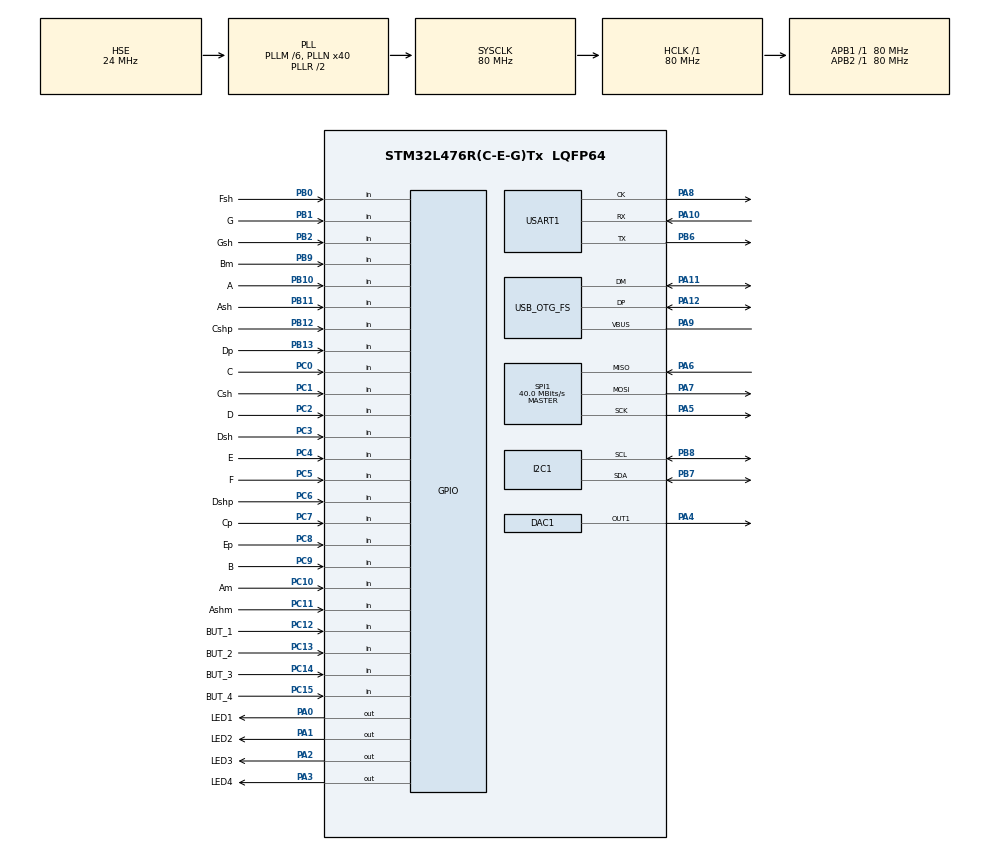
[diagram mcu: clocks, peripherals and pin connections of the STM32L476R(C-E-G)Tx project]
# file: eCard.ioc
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DAC1.DAC_Trigger-DAC_OUT1=DAC_TRIGGER_T5_TRGO
Dma.DAC_CH1.0.Direction=DMA_MEMORY_TO_PERIPH
Dma.DAC_CH1.0.Instance=DMA1_Channel3
Dma.DAC_CH1.0.MemDataAlignment=DMA_MDATAALIGN_WORD
Dma.DAC_CH1.0.MemInc=DMA_MINC_ENABLE
Dma.DAC_CH1.0.Mode=DMA_NORMAL
Dma.DAC_CH1.0.PeriphDataAlignment=DMA_PDATAALIGN_HALFWORD
Dma.DAC_CH1.0.PeriphInc=DMA_PINC_DISABLE
Dma.DAC_CH1.0.Priority=DMA_PRIORITY_HIGH
Dma.Request0=DAC_CH1
I2C1.Timing=0x10909CEC
Mcu.Family=STM32L4
Mcu.Name=STM32L476R(C-E-G)Tx
Mcu.Package=LQFP64
NVIC.DMA1_Channel3_IRQn=true\:0\:0\:false\:false\:true\:false\:true\:true
NVIC.OTG_FS_IRQn=true\:0\:0\:false\:false\:true\:false\:true\:true
NVIC.PriorityGroup=NVIC_PRIORITYGROUP_4
PA0.GPIO_Label=LED1
PA0.Signal=GPIO_Output
PA1.GPIO_Label=LED2
PA1.Signal=GPIO_Output
PA10.Mode=Synchronous
PA10.Signal=USART1_RX
PA11.Mode=Device_Only
PA11.Signal=USB_OTG_FS_DM
PA12.Mode=Device_Only
PA12.Signal=USB_OTG_FS_DP
PA13\ (JTMS-SWDIO).Mode=Serial_Wire
PA13\ (JTMS-SWDIO).Signal=SYS_JTMS-SWDIO
PA14\ (JTCK-SWCLK).Mode=Serial_Wire
PA14\ (JTCK-SWCLK).Signal=SYS_JTCK-SWCLK
PA2.GPIO_Label=LED3
PA2.Signal=GPIO_Output
PA3.GPIO_Label=LED4
PA3.Signal=GPIO_Output
PA4.Signal=COMP_DAC11_group
PA5.Mode=Full_Duplex_Master
PA5.Signal=SPI1_SCK
PA6.Mode=Full_Duplex_Master
PA6.Signal=SPI1_MISO
PA7.Mode=Full_Duplex_Master
PA7.Signal=SPI1_MOSI
PA8.Mode=Synchronous
PA8.Signal=USART1_CK
PA9.Mode=Activate_VBUS
PA9.Signal=USB_OTG_FS_VBUS
PB0.GPIO_Label=Fsh
PB0.GPIO_PuPd=GPIO_PULLUP
PB0.Signal=GPIO_Input
PB1.GPIO_Label=G
PB1.GPIO_PuPd=GPIO_PULLUP
PB1.Signal=GPIO_Input
PB10.GPIO_Label=A
PB10.GPIO_PuPd=GPIO_PULLUP
PB10.Signal=GPIO_Input
PB11.GPIO_Label=Ash
PB11.GPIO_PuPd=GPIO_PULLUP
PB11.Signal=GPIO_Input
PB12.GPIO_Label=Cshp
PB12.GPIO_PuPd=GPIO_PULLUP
PB12.Signal=GPIO_Input
PB13.GPIO_Label=Dp
PB13.GPIO_PuPd=GPIO_PULLUP
PB13.Signal=GPIO_Input
PB2.GPIO_Label=Gsh
PB2.GPIO_PuPd=GPIO_PULLUP
PB2.Signal=GPIO_Input
PB6.Mode=Synchronous
PB6.Signal=USART1_TX
PB7.Mode=I2C
PB7.Signal=I2C1_SDA
PB8.Mode=I2C
PB8.Signal=I2C1_SCL
PB9.GPIO_Label=Bm
PB9.GPIO_PuPd=GPIO_PULLUP
PB9.Signal=GPIO_Input
PC0.GPIO_Label=C
PC0.GPIO_PuPd=GPIO_PULLUP
PC0.Signal=GPIO_Input
PC1.GPIO_Label=Csh
PC1.GPIO_PuPd=GPIO_PULLUP
PC1.Signal=GPIO_Input
PC10.GPIO_Label=Am
PC10.GPIO_PuPd=GPIO_PULLUP
PC10.Signal=GPIO_Input
PC11.GPIO_Label=Ashm
PC11.GPIO_PuPd=GPIO_PULLUP
PC11.Signal=GPIO_Input
PC12.GPIO_Label=BUT_1
PC12.GPIO_PuPd=GPIO_PULLUP
PC12.Signal=GPIO_Input
PC13.GPIO_Label=BUT_2
PC13.GPIO_PuPd=GPIO_PULLUP
PC13.Signal=GPIO_Input
PC14-OSC32_IN\ (PC14).GPIO_Label=BUT_3
PC14-OSC32_IN\ (PC14).GPIO_PuPd=GPIO_PULLUP
PC14-OSC32_IN\ (PC14).Signal=GPIO_Input
PC15-OSC32_OUT\ (PC15).GPIO_Label=BUT_4
PC15-OSC32_OUT\ (PC15).GPIO_PuPd=GPIO_PULLUP
PC15-OSC32_OUT\ (PC15).Signal=GPIO_Input
PC2.GPIO_Label=D
PC2.GPIO_PuPd=GPIO_PULLUP
PC2.Signal=GPIO_Input
PC3.GPIO_Label=Dsh
PC3.GPIO_PuPd=GPIO_PULLUP
PC3.Signal=GPIO_Input
PC4.GPIO_Label=E
PC4.GPIO_PuPd=GPIO_PULLUP
PC4.Signal=GPIO_Input
PC5.GPIO_Label=F
PC5.GPIO_PuPd=GPIO_PULLUP
PC5.Signal=GPIO_Input
PC6.GPIO_Label=Dshp
PC6.GPIO_PuPd=GPIO_PULLUP
PC6.Signal=GPIO_Input
PC7.GPIO_Label=Cp
PC7.GPIO_PuPd=GPIO_PULLUP
PC7.Signal=GPIO_Input
PC8.GPIO_Label=Ep
PC8.GPIO_PuPd=GPIO_PULLUP
PC8.Signal=GPIO_Input
PC9.GPIO_Label=B
PC9.GPIO_PuPd=GPIO_PULLUP
PC9.Signal=GPIO_Input
PH0-OSC_IN\ (PH0).Mode=HSE-External-Oscillator
PH0-OSC_IN\ (PH0).Signal=RCC_OSC_IN
PH1-OSC_OUT\ (PH1).Mode=HSE-External-Oscillator
PH1-OSC_OUT\ (PH1).Signal=RCC_OSC_OUT
ProjectManager.HeapSize=0x4000
ProjectManager.StackSize=0x2000
ProjectManager.TargetToolchain=STM32CubeIDE
RCC.ADCFreq_Value=96000000
RCC.AHBFreq_Value=80000000
RCC.APB1Freq_Value=80000000
RCC.APB1TimFreq_Value=80000000
RCC.APB2Freq_Value=80000000
RCC.APB2TimFreq_Value=80000000
RCC.CortexFreq_Value=80000000
RCC.HCLKFreq_Value=80000000
RCC.HSE_VALUE=24000000
RCC.HSI_VALUE=16000000
RCC.LSE_VALUE=32768
RCC.MSIClockRange=RCC_MSIRANGE_8
RCC.MSI_VALUE=16000000
RCC.PLLM=6
RCC.PLLN=40
RCC.PLLSAI1N=48
RCC.PLLSAI1Q=RCC_PLLQ_DIV4
RCC.PLLSourceVirtual=RCC_PLLSOURCE_HSE
RCC.SYSCLKFreq_VALUE=80000000
RCC.SYSCLKSource=RCC_SYSCLKSOURCE_PLLCLK
RCC.USBFreq_Value=48000000
RCC.VCOOutputFreq_Value=160000000
SH.COMP_DAC11_group.0=DAC1_OUT1,DAC_OUT1
SPI1.BaudRatePrescaler=SPI_BAUDRATEPRESCALER_2
SPI1.CalculateBaudRate=40.0 MBits/s
SPI1.Direction=SPI_DIRECTION_2LINES
SPI1.Mode=SPI_MODE_MASTER
SPI1.VirtualType=VM_MASTER
STMicroelectronics.X-CUBE-ALGOBUILD.1.3.0.LibraryCcDSPOoLibraryJjDSPOoLibrary=true
TIM5.Period=1666
TIM5.Prescaler=0
TIM5.TIM_MasterOutputTrigger=TIM_TRGO_UPDATE
USART1.VirtualMode-Synchronous=VM_SYNC
USB_DEVICE.CLASS_NAME_FS=AUDIO
USB_DEVICE.MANUFACTURER_STRING=DarkFox
USB_DEVICE.PRODUCT_STRING_AUDIO_FS=Stylophone Card
USB_DEVICE.USBD_AUDIO_FREQ=48000
USB_DEVICE.USBD_MAX_NUM_INTERFACES=3
USB_DEVICE.VID=1159
USB_DEVICE.VirtualMode=Audio
USB_DEVICE.VirtualModeFS=Audio_FS
USB_OTG_FS.VirtualMode=Device_Only
VP_STMicroelectronics.X-CUBE-ALGOBUILD_VS_DSPOoLibraryJjLibrary_1.3.0_1.3.0.Mode=DSPOoLibraryJjLibrary
VP_TIM5_VS_ClockSourceINT.Mode=Internal
VP_USB_DEVICE_VS_USB_DEVICE_AUDIO_FS.Mode=AUDIO_FS
board=custom

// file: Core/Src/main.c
/* USER CODE BEGIN Header */
/**
  ******************************************************************************
  * @file       main.c
  * @brief      This is the top layer file.
  *
  * @author     darkyfoxy [*GitHub*](https://github.com/darkyfoxy)
  * @version    0.01
  * @date       05.05.2023
  *
  ******************************************************************************
  * @copyright  <h3>Copyright (c) 2023 Pavlov V.</h3>
  *
  * Permission is hereby granted, free of charge, to any person obtaining a copy
  * of this software and associated documentation files (the "Software"), to deal
  * in the Software without restriction, including without limitation the rights
  * to use, copy, modify, merge, publish, distribute, sublicense, and/or sell
  * copies of the Software, and to permit persons to whom the Software is
  * furnished to do so, subject to the following conditions:
  *
  * The above copyright notice and this permission notice shall be included in all
  * copies or substantial portions of the Software.
  *
  * THE SOFTWARE IS PROVIDED "AS IS", WITHOUT WARRANTY OF ANY KIND, EXPRESS OR
  * IMPLIED, INCLUDING BUT NOT LIMITED TO THE WARRANTIES OF MERCHANTABILITY,
  * FITNESS FOR A PARTICULAR PURPOSE AND NONINFRINGEMENT. IN NO EVENT SHALL THE
  * AUTHORS OR COPYRIGHT HOLDERS BE LIABLE FOR ANY CLAIM, DAMAGES OR OTHER
  * LIABILITY, WHETHER IN AN ACTION OF CONTRACT, TORT OR OTHERWISE, ARISING FROM,
  * OUT OF OR IN CONNECTION WITH THE SOFTWARE OR THE USE OR OTHER DEALINGS IN THE
  * SOFTWARE.
  ******************************************************************************
  */

/* USER CODE END Header */
#include "main.h"
#include "usb_device.h"

/* USER CODE BEGIN Includes */
#include "ecard.h"
#include "wave_form.h"
/* USER CODE END Includes */

DAC_HandleTypeDef hdac1;
DMA_HandleTypeDef hdma_dac_ch1;

I2C_HandleTypeDef hi2c1;

SPI_HandleTypeDef hspi1;

TIM_HandleTypeDef htim5;

USART_HandleTypeDef husart1;

/* USER CODE BEGIN PV */
ecard_t ecard = {0};

Universal_Buffer_TypeDef DAC_buffer_0;
Universal_Buffer_TypeDef DAC_buffer_1;

Universal_Buffer_TypeDef SPK_buffer_0;
Universal_Buffer_TypeDef SPK_buffer_1;

Universal_Buffer_TypeDef MIC_buffer_0;
Universal_Buffer_TypeDef MIC_buffer_1;

Universal_Buffer_TypeDef SMP_buffer;

uint8_t buf_flaf;
uint8_t empty_buf_flaf;
int count;
uint8_t note;
uint8_t pre_note;

uint8_t but_flug;
uint8_t leds_flug;
/* USER CODE END PV */

void SystemClock_Config(void);
static void MX_GPIO_Init(void);
static void MX_DMA_Init(void);
static void MX_DAC1_Init(void);
static void MX_TIM5_Init(void);
static void MX_I2C1_Init(void);
static void MX_SPI1_Init(void);
static void MX_USART1_Init(void);

int main(void)
{

  /* MCU Configuration--------------------------------------------------------*/

  /* Reset of all peripherals, Initializes the Flash interface and the Systick. */
  HAL_Init();

  /* Configure the system clock */
  SystemClock_Config();

  /* Initialize all configured peripherals */
  MX_GPIO_Init();
  MX_DMA_Init();
  MX_DAC1_Init();
  MX_TIM5_Init();
  MX_I2C1_Init();
  MX_SPI1_Init();
  MX_USART1_Init();
  MX_USB_DEVICE_Init();
  /* USER CODE BEGIN 2 */
  ecard_init(&ecard);

  ecard.init_note_form(&ecard,\
                       &note_table,\
                       note_form_index,\
                       note_exp_flag,\
                       note_exp_index,\
                       EXPONENT,\
					   vibrato,\
                       temp_buffer);

  leds_flug = 0x01;

  ecard.set_note_table(&ecard, note_gitr_table, note_form_gitr_size);

  ecard.set_leds(&ecard, leds_flug);

  empty_buf_flaf = 0;
  buf_flaf = 0;

  pre_note = PAUSE;
  note = PAUSE;

  but_flug = 0x00;

  HAL_DAC_Start_DMA (&hdac1, DAC_CHANNEL_1, (uint32_t *)DAC_buffer_0.buffer, BUFF_SIZE, DAC_ALIGN_12B_R);
  HAL_TIM_Base_Start(&htim5);
  /* USER CODE END 2 */

  /* Infinite loop */
  /* USER CODE BEGIN WHILE */

  while (1)
  {
    count ++;
    if(empty_buf_flaf == 0)
    {
      ecard.read_keys(&ecard);

      switch (ecard.keys)
      {
        case 0x1:
          note = NOTE_Am;
          break;

        case 0x2:
          note = NOTE_Ashm;
          break;

        case 0x4:
          note = NOTE_Bm;
          break;

        case 0x8:
          note = NOTE_C;
          break;

        case 0x10:
          note = NOTE_Csh;
          break;

        case 0x20:
          note = NOTE_D;
          break;

        case 0x40:
          note = NOTE_Dsh;
          break;

        case 0x80:
          note = NOTE_E;
          break;

        case 0x100:
          note = NOTE_F;
          break;

        case 0x200:
          note = NOTE_Fsh;
          break;

        case 0x400:
          note = NOTE_G;
          break;

        case 0x800:
          note = NOTE_Gsh;
          break;

        case 0x1000:
          note = NOTE_A;
          break;

        case 0x2000:
          note = NOTE_Ash;
          break;

        case 0x4000:
          note = NOTE_B;
          break;

        case 0x8000:
          note = NOTE_Cp;
          break;

        case 0x10000:
          note = NOTE_Cshp;
          break;

        case 0x20000:
          note = NOTE_Dp;
          break;

        case 0x40000:
          note = NOTE_Dshp;
          break;

        case 0x80000:
          note = NOTE_Ep;
          break;

        default:
          note = PAUSE;
          break;
      }

      if (pre_note != note)
      {
        if ((pre_note != PAUSE))
        {
          ecard.notes_table->exp_flag[pre_note] = 1;
        }
        pre_note = note;

        ecard.vibrato_index = 0;
      }
      ecard.notes_table->exp_flag[note] = 0;

      ecard.sampl_calculation(&ecard, &SMP_buffer, note, BUFF_SIZE, EXP_TIME_SIZE);

      if(buf_flaf == 0)
      {
        ecard.prepare_to_DAC(&ecard, &SMP_buffer, &DAC_buffer_1, BUFF_SIZE);
      }
      else
      {
        ecard.prepare_to_DAC(&ecard, &SMP_buffer, &DAC_buffer_0, BUFF_SIZE);
      }

      ecard.prepare_to_MIC(&ecard, &SMP_buffer, BUFF_SIZE);

      ecard.read_button(&ecard);

      if(ecard.buttons != but_flug)
      {

        switch(ecard.buttons)
        {
          case 0x01:
            ecard.set_note_table(&ecard, note_gitr_table, note_form_gitr_size);
            leds_flug &= 0x08;
            leds_flug |= GPIO_PIN_0;
            break;

          case 0x02:
            ecard.set_note_table(&ecard, note_mndr_table, note_form_mndr_size);
            leds_flug &= 0x08;
            leds_flug |= GPIO_PIN_1;
            break;

          case 0x04:
            ecard.set_note_table(&ecard, note_trin_table, note_form_trin_size);
            leds_flug &= 0x08;
            leds_flug |= GPIO_PIN_2;
            break;

          case 0x08:
            leds_flug ^= 0x08;
            ecard.vibrato ^= 0x01;
            break;
        }

        ecard.set_leds(&ecard, leds_flug);
        but_flug = ecard.buttons;
      }

      empty_buf_flaf = 1;
      count = 0;
    }
    /* USER CODE END WHILE */
  }
}

void SystemClock_Config(void)
{
  RCC_OscInitTypeDef RCC_OscInitStruct = {0};
  RCC_ClkInitTypeDef RCC_ClkInitStruct = {0};

  /** Configure the main internal regulator output voltage
  */
  if (HAL_PWREx_ControlVoltageScaling(PWR_REGULATOR_VOLTAGE_SCALE1) != HAL_OK)
  {
    Error_Handler();
  }

  /** Initializes the RCC Oscillators according to the specified parameters
  * in the RCC_OscInitTypeDef structure.
  */
  RCC_OscInitStruct.OscillatorType = RCC_OSCILLATORTYPE_HSE;
  RCC_OscInitStruct.HSEState = RCC_HSE_ON;
  RCC_OscInitStruct.PLL.PLLState = RCC_PLL_ON;
  RCC_OscInitStruct.PLL.PLLSource = RCC_PLLSOURCE_HSE;
  RCC_OscInitStruct.PLL.PLLM = 6;
  RCC_OscInitStruct.PLL.PLLN = 40;
  RCC_OscInitStruct.PLL.PLLP = RCC_PLLP_DIV7;
  RCC_OscInitStruct.PLL.PLLQ = RCC_PLLQ_DIV2;
  RCC_OscInitStruct.PLL.PLLR = RCC_PLLR_DIV2;
  if (HAL_RCC_OscConfig(&RCC_OscInitStruct) != HAL_OK)
  {
    Error_Handler();
  }

  /** Initializes the CPU, AHB and APB buses clocks
  */
  RCC_ClkInitStruct.ClockType = RCC_CLOCKTYPE_HCLK|RCC_CLOCKTYPE_SYSCLK
                              |RCC_CLOCKTYPE_PCLK1|RCC_CLOCKTYPE_PCLK2;
  RCC_ClkInitStruct.SYSCLKSource = RCC_SYSCLKSOURCE_PLLCLK;
  RCC_ClkInitStruct.AHBCLKDivider = RCC_SYSCLK_DIV1;
  RCC_ClkInitStruct.APB1CLKDivider = RCC_HCLK_DIV1;
  RCC_ClkInitStruct.APB2CLKDivider = RCC_HCLK_DIV1;

  if (HAL_RCC_ClockConfig(&RCC_ClkInitStruct, FLASH_LATENCY_4) != HAL_OK)
  {
    Error_Handler();
  }
}

static void MX_DAC1_Init(void)
{

  DAC_ChannelConfTypeDef sConfig = {0};

  /** DAC Initialization
  */
  hdac1.Instance = DAC1;
  if (HAL_DAC_Init(&hdac1) != HAL_OK)
  {
    Error_Handler();
  }

  /** DAC channel OUT1 config
  */
  sConfig.DAC_SampleAndHold = DAC_SAMPLEANDHOLD_DISABLE;
  sConfig.DAC_Trigger = DAC_TRIGGER_T5_TRGO;
  sConfig.DAC_OutputBuffer = DAC_OUTPUTBUFFER_ENABLE;
  sConfig.DAC_ConnectOnChipPeripheral = DAC_CHIPCONNECT_DISABLE;
  sConfig.DAC_UserTrimming = DAC_TRIMMING_FACTORY;
  if (HAL_DAC_ConfigChannel(&hdac1, &sConfig, DAC_CHANNEL_1) != HAL_OK)
  {
    Error_Handler();
  }

}

static void MX_I2C1_Init(void)
{

  hi2c1.Instance = I2C1;
  hi2c1.Init.Timing = 0x10909CEC;
  hi2c1.Init.OwnAddress1 = 0;
  hi2c1.Init.AddressingMode = I2C_ADDRESSINGMODE_7BIT;
  hi2c1.Init.DualAddressMode = I2C_DUALADDRESS_DISABLE;
  hi2c1.Init.OwnAddress2 = 0;
  hi2c1.Init.OwnAddress2Masks = I2C_OA2_NOMASK;
  hi2c1.Init.GeneralCallMode = I2C_GENERALCALL_DISABLE;
  hi2c1.Init.NoStretchMode = I2C_NOSTRETCH_DISABLE;
  if (HAL_I2C_Init(&hi2c1) != HAL_OK)
  {
    Error_Handler();
  }

  /** Configure Analogue filter
  */
  if (HAL_I2CEx_ConfigAnalogFilter(&hi2c1, I2C_ANALOGFILTER_ENABLE) != HAL_OK)
  {
    Error_Handler();
  }

  /** Configure Digital filter
  */
  if (HAL_I2CEx_ConfigDigitalFilter(&hi2c1, 0) != HAL_OK)
  {
    Error_Handler();
  }

}

static void MX_SPI1_Init(void)
{

  /* SPI1 parameter configuration*/
  hspi1.Instance = SPI1;
  hspi1.Init.Mode = SPI_MODE_MASTER;
  hspi1.Init.Direction = SPI_DIRECTION_2LINES;
  hspi1.Init.DataSize = SPI_DATASIZE_4BIT;
  hspi1.Init.CLKPolarity = SPI_POLARITY_LOW;
  hspi1.Init.CLKPhase = SPI_PHASE_1EDGE;
  hspi1.Init.NSS = SPI_NSS_SOFT;
  hspi1.Init.BaudRatePrescaler = SPI_BAUDRATEPRESCALER_2;
  hspi1.Init.FirstBit = SPI_FIRSTBIT_MSB;
  hspi1.Init.TIMode = SPI_TIMODE_DISABLE;
  hspi1.Init.CRCCalculation = SPI_CRCCALCULATION_DISABLE;
  hspi1.Init.CRCPolynomial = 7;
  hspi1.Init.CRCLength = SPI_CRC_LENGTH_DATASIZE;
  hspi1.Init.NSSPMode = SPI_NSS_PULSE_ENABLE;
  if (HAL_SPI_Init(&hspi1) != HAL_OK)
  {
    Error_Handler();
  }

}

static void MX_TIM5_Init(void)
{

  TIM_ClockConfigTypeDef sClockSourceConfig = {0};
  TIM_MasterConfigTypeDef sMasterConfig = {0};

  htim5.Instance = TIM5;
  htim5.Init.Prescaler = 0;
  htim5.Init.CounterMode = TIM_COUNTERMODE_UP;
  htim5.Init.Period = 1666;
  htim5.Init.ClockDivision = TIM_CLOCKDIVISION_DIV1;
  htim5.Init.AutoReloadPreload = TIM_AUTORELOAD_PRELOAD_DISABLE;
  if (HAL_TIM_Base_Init(&htim5) != HAL_OK)
  {
    Error_Handler();
  }
  sClockSourceConfig.ClockSource = TIM_CLOCKSOURCE_INTERNAL;
  if (HAL_TIM_ConfigClockSource(&htim5, &sClockSourceConfig) != HAL_OK)
  {
    Error_Handler();
  }
  sMasterConfig.MasterOutputTrigger = TIM_TRGO_UPDATE;
  sMasterConfig.MasterSlaveMode = TIM_MASTERSLAVEMODE_DISABLE;
  if (HAL_TIMEx_MasterConfigSynchronization(&htim5, &sMasterConfig) != HAL_OK)
  {
    Error_Handler();
  }

}

static void MX_USART1_Init(void)
{

  husart1.Instance = USART1;
  husart1.Init.BaudRate = 115200;
  husart1.Init.WordLength = USART_WORDLENGTH_8B;
  husart1.Init.StopBits = USART_STOPBITS_1;
  husart1.Init.Parity = USART_PARITY_NONE;
  husart1.Init.Mode = USART_MODE_TX_RX;
  husart1.Init.CLKPolarity = USART_POLARITY_LOW;
  husart1.Init.CLKPhase = USART_PHASE_1EDGE;
  husart1.Init.CLKLastBit = USART_LASTBIT_DISABLE;
  if (HAL_USART_Init(&husart1) != HAL_OK)
  {
    Error_Handler();
  }

}

static void MX_DMA_Init(void)
{

  /* DMA controller clock enable */
  __HAL_RCC_DMA1_CLK_ENABLE();

  /* DMA interrupt init */
  /* DMA1_Channel3_IRQn interrupt configuration */
  HAL_NVIC_SetPriority(DMA1_Channel3_IRQn, 0, 0);
  HAL_NVIC_EnableIRQ(DMA1_Channel3_IRQn);

}

static void MX_GPIO_Init(void)
{
  GPIO_InitTypeDef GPIO_InitStruct = {0};

  /* GPIO Ports Clock Enable */
  __HAL_RCC_GPIOC_CLK_ENABLE();
  __HAL_RCC_GPIOH_CLK_ENABLE();
  __HAL_RCC_GPIOA_CLK_ENABLE();
  __HAL_RCC_GPIOB_CLK_ENABLE();

  /*Configure GPIO pin Output Level */
  HAL_GPIO_WritePin(GPIOA, LED1_Pin|LED2_Pin|LED3_Pin|LED4_Pin, GPIO_PIN_RESET);

  /*Configure GPIO pins : BUT_2_Pin BUT_3_Pin BUT_4_Pin C_Pin
                           Csh_Pin D_Pin Dsh_Pin E_Pin
                           F_Pin Dshp_Pin Cp_Pin Ep_Pin
                           B_Pin Am_Pin Ashm_Pin BUT_1_Pin */
  GPIO_InitStruct.Pin = BUT_2_Pin|BUT_3_Pin|BUT_4_Pin|C_Pin
                          |Csh_Pin|D_Pin|Dsh_Pin|E_Pin
                          |F_Pin|Dshp_Pin|Cp_Pin|Ep_Pin
                          |B_Pin|Am_Pin|Ashm_Pin|BUT_1_Pin;
  GPIO_InitStruct.Mode = GPIO_MODE_INPUT;
  GPIO_InitStruct.Pull = GPIO_PULLUP;
  HAL_GPIO_Init(GPIOC, &GPIO_InitStruct);

  /*Configure GPIO pins : LED1_Pin LED2_Pin LED3_Pin LED4_Pin */
  GPIO_InitStruct.Pin = LED1_Pin|LED2_Pin|LED3_Pin|LED4_Pin;
  GPIO_InitStruct.Mode = GPIO_MODE_OUTPUT_PP;
  GPIO_InitStruct.Pull = GPIO_NOPULL;
  GPIO_InitStruct.Speed = GPIO_SPEED_FREQ_LOW;
  HAL_GPIO_Init(GPIOA, &GPIO_InitStruct);

  /*Configure GPIO pins : Fsh_Pin G_Pin Gsh_Pin A_Pin
                           Ash_Pin Cshp_Pin Dp_Pin Bm_Pin */
  GPIO_InitStruct.Pin = Fsh_Pin|G_Pin|Gsh_Pin|A_Pin
                          |Ash_Pin|Cshp_Pin|Dp_Pin|Bm_Pin;
  GPIO_InitStruct.Mode = GPIO_MODE_INPUT;
  GPIO_InitStruct.Pull = GPIO_PULLUP;
  HAL_GPIO_Init(GPIOB, &GPIO_InitStruct);

}

void Error_Handler(void)
{
  __disable_irq();
  while (1)
  {
  }
}
